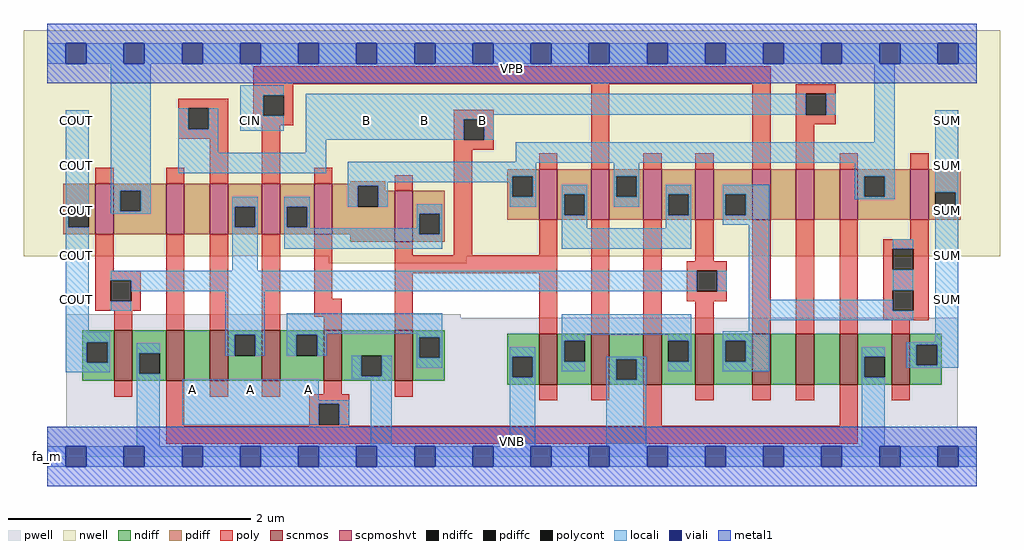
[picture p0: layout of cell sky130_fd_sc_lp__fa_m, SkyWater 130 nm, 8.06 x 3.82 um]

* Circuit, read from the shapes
.subckt sky130_fd_sc_lp__fa_m A B CIN VGND VNB VPB VPWR COUT SUM
XM1 VGND n1 COUT VNB sky130_fd_pr__nfet_01v8 w=0.42 l=0.15
XM2 n2 A VGND VNB sky130_fd_pr__nfet_01v8 w=0.42 l=0.15
XM3 n1 B n2 VNB sky130_fd_pr__nfet_01v8 w=0.42 l=0.15
XM4 n3 CIN n1 VNB sky130_fd_pr__nfet_01v8 w=0.42 l=0.15
XM5 VGND A n3 VNB sky130_fd_pr__nfet_01v8 w=0.42 l=0.15
XM6 n3 B VGND VNB sky130_fd_pr__nfet_01v8 w=0.42 l=0.15
XM7 n4 B VGND VNB sky130_fd_pr__nfet_01v8 w=0.42 l=0.15
XM8 VGND CIN n4 VNB sky130_fd_pr__nfet_01v8 w=0.42 l=0.15
XM9 n4 A VGND VNB sky130_fd_pr__nfet_01v8 w=0.42 l=0.15
XM10 n5 n1 n4 VNB sky130_fd_pr__nfet_01v8 w=0.42 l=0.15
XM11 n6 CIN n5 VNB sky130_fd_pr__nfet_01v8 w=0.42 l=0.15
XM12 n7 B n6 VNB sky130_fd_pr__nfet_01v8 w=0.42 l=0.15
XM13 VGND A n7 VNB sky130_fd_pr__nfet_01v8 w=0.42 l=0.15
XM14 SUM n5 VGND VNB sky130_fd_pr__nfet_01v8 w=0.42 l=0.15
XM15 VPWR n1 COUT VPB sky130_fd_pr__pfet_01v8_hvt w=0.42 l=0.15
XM16 n8 A VPWR VPB sky130_fd_pr__pfet_01v8_hvt w=0.42 l=0.15
XM17 n1 B n8 VPB sky130_fd_pr__pfet_01v8_hvt w=0.42 l=0.15
XM18 n9 CIN n1 VPB sky130_fd_pr__pfet_01v8_hvt w=0.42 l=0.15
XM19 VPWR A n9 VPB sky130_fd_pr__pfet_01v8_hvt w=0.42 l=0.15
XM20 n9 B VPWR VPB sky130_fd_pr__pfet_01v8_hvt w=0.42 l=0.15
XM21 n10 B VPWR VPB sky130_fd_pr__pfet_01v8_hvt w=0.42 l=0.15
XM22 VPWR CIN n10 VPB sky130_fd_pr__pfet_01v8_hvt w=0.42 l=0.15
XM23 n10 A VPWR VPB sky130_fd_pr__pfet_01v8_hvt w=0.42 l=0.15
XM24 n5 n1 n10 VPB sky130_fd_pr__pfet_01v8_hvt w=0.42 l=0.15
XM25 n11 CIN n5 VPB sky130_fd_pr__pfet_01v8_hvt w=0.42 l=0.15
XM26 n12 B n11 VPB sky130_fd_pr__pfet_01v8_hvt w=0.42 l=0.15
XM27 VPWR A n12 VPB sky130_fd_pr__pfet_01v8_hvt w=0.42 l=0.15
XM28 SUM n5 VPWR VPB sky130_fd_pr__pfet_01v8_hvt w=0.42 l=0.15
.ends

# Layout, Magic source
magic
tech sky130A
magscale 1 2
<< nwell >>
rect -38 331 1574 704
rect 465 319 693 331
<< pwell >>
rect 32 229 683 235
rect 32 49 1504 229
rect 0 0 1536 49
<< scnmos >>
rect 111 125 141 209
rect 197 125 227 209
rect 269 125 299 209
rect 355 125 385 209
rect 457 125 487 209
rect 574 125 604 209
rect 813 119 843 203
rect 899 119 929 203
rect 985 119 1015 203
rect 1071 119 1101 203
rect 1165 119 1195 203
rect 1237 119 1267 203
rect 1309 119 1339 203
rect 1395 119 1425 203
<< scpmoshvt >>
rect 80 367 110 451
rect 197 367 227 451
rect 269 367 299 451
rect 355 367 385 451
rect 441 367 471 451
rect 574 355 604 439
rect 813 391 843 475
rect 899 391 929 475
rect 985 391 1015 475
rect 1071 391 1101 475
rect 1165 391 1195 475
rect 1237 391 1267 475
rect 1309 391 1339 475
rect 1426 391 1456 475
<< ndiff >>
rect 58 189 111 209
rect 58 155 66 189
rect 100 155 111 189
rect 58 125 111 155
rect 141 171 197 209
rect 141 137 152 171
rect 186 137 197 171
rect 141 125 197 137
rect 227 125 269 209
rect 299 201 355 209
rect 299 167 310 201
rect 344 167 355 201
rect 299 125 355 167
rect 385 201 457 209
rect 385 167 412 201
rect 446 167 457 201
rect 385 125 457 167
rect 487 167 574 209
rect 487 133 519 167
rect 553 133 574 167
rect 487 125 574 133
rect 604 197 657 209
rect 604 163 615 197
rect 649 163 657 197
rect 604 125 657 163
rect 760 165 813 203
rect 760 131 768 165
rect 802 131 813 165
rect 760 119 813 131
rect 843 191 899 203
rect 843 157 854 191
rect 888 157 899 191
rect 843 119 899 157
rect 929 161 985 203
rect 929 127 940 161
rect 974 127 985 161
rect 929 119 985 127
rect 1015 191 1071 203
rect 1015 157 1026 191
rect 1060 157 1071 191
rect 1015 119 1071 157
rect 1101 191 1165 203
rect 1101 157 1120 191
rect 1154 157 1165 191
rect 1101 119 1165 157
rect 1195 119 1237 203
rect 1267 119 1309 203
rect 1339 165 1395 203
rect 1339 131 1350 165
rect 1384 131 1395 165
rect 1339 119 1395 131
rect 1425 185 1478 203
rect 1425 151 1436 185
rect 1470 151 1478 185
rect 1425 119 1478 151
<< pdiff >>
rect 501 451 559 455
rect 27 413 80 451
rect 27 379 35 413
rect 69 379 80 413
rect 27 367 80 379
rect 110 439 197 451
rect 110 405 121 439
rect 155 405 197 439
rect 110 367 197 405
rect 227 367 269 451
rect 299 413 355 451
rect 299 379 310 413
rect 344 379 355 413
rect 299 367 355 379
rect 385 413 441 451
rect 385 379 396 413
rect 430 379 441 413
rect 385 367 441 379
rect 471 447 559 451
rect 471 413 513 447
rect 547 439 559 447
rect 547 413 574 439
rect 471 367 574 413
rect 501 355 574 367
rect 604 401 657 439
rect 604 367 615 401
rect 649 367 657 401
rect 604 355 657 367
rect 760 463 813 475
rect 760 429 768 463
rect 802 429 813 463
rect 760 391 813 429
rect 843 433 899 475
rect 843 399 854 433
rect 888 399 899 433
rect 843 391 899 399
rect 929 463 985 475
rect 929 429 940 463
rect 974 429 985 463
rect 929 391 985 429
rect 1015 433 1071 475
rect 1015 399 1026 433
rect 1060 399 1071 433
rect 1015 391 1071 399
rect 1101 433 1165 475
rect 1101 399 1120 433
rect 1154 399 1165 433
rect 1101 391 1165 399
rect 1195 391 1237 475
rect 1267 391 1309 475
rect 1339 463 1426 475
rect 1339 429 1350 463
rect 1384 429 1426 463
rect 1339 391 1426 429
rect 1456 437 1509 475
rect 1456 403 1467 437
rect 1501 403 1509 437
rect 1456 391 1509 403
<< ndiffc >>
rect 66 155 100 189
rect 152 137 186 171
rect 310 167 344 201
rect 412 167 446 201
rect 519 133 553 167
rect 615 163 649 197
rect 768 131 802 165
rect 854 157 888 191
rect 940 127 974 161
rect 1026 157 1060 191
rect 1120 157 1154 191
rect 1350 131 1384 165
rect 1436 151 1470 185
<< pdiffc >>
rect 35 379 69 413
rect 121 405 155 439
rect 310 379 344 413
rect 396 379 430 413
rect 513 413 547 447
rect 615 367 649 401
rect 768 429 802 463
rect 854 399 888 433
rect 940 429 974 463
rect 1026 399 1060 433
rect 1120 399 1154 433
rect 1350 429 1384 463
rect 1467 403 1501 437
<< poly >>
rect 341 615 1195 645
rect 341 597 407 615
rect 217 575 299 591
rect 217 541 233 575
rect 267 541 299 575
rect 341 563 357 597
rect 391 563 407 597
rect 341 547 407 563
rect 672 557 738 573
rect 217 525 299 541
rect 80 451 110 477
rect 197 451 227 477
rect 269 451 299 525
rect 355 451 385 547
rect 672 523 688 557
rect 722 523 738 557
rect 672 507 738 523
rect 441 451 471 477
rect 574 439 604 465
rect 80 307 110 367
rect 80 291 155 307
rect 80 257 105 291
rect 139 257 155 291
rect 80 241 155 257
rect 111 209 141 241
rect 197 209 227 367
rect 269 209 299 367
rect 355 209 385 367
rect 441 261 471 367
rect 574 333 604 355
rect 672 333 702 507
rect 813 475 843 501
rect 899 475 929 615
rect 985 475 1015 501
rect 1071 475 1101 501
rect 1165 475 1195 615
rect 1237 599 1303 615
rect 1237 565 1253 599
rect 1287 565 1303 599
rect 1237 549 1303 565
rect 1237 475 1267 549
rect 1309 475 1339 501
rect 1426 475 1456 501
rect 813 333 843 391
rect 574 303 843 333
rect 441 231 487 261
rect 457 209 487 231
rect 574 209 604 303
rect 813 203 843 303
rect 899 203 929 391
rect 985 203 1015 391
rect 1071 323 1101 391
rect 1057 307 1123 323
rect 1057 273 1073 307
rect 1107 273 1123 307
rect 1057 257 1123 273
rect 1071 203 1101 257
rect 1165 203 1195 391
rect 1237 203 1267 391
rect 1309 203 1339 391
rect 1426 359 1456 391
rect 1381 343 1456 359
rect 1381 309 1397 343
rect 1431 309 1456 343
rect 1381 275 1456 309
rect 1381 241 1397 275
rect 1431 241 1456 275
rect 1381 225 1456 241
rect 1395 203 1425 225
rect 111 99 141 125
rect 197 51 227 125
rect 269 99 299 125
rect 355 99 385 125
rect 457 103 487 125
rect 433 87 499 103
rect 574 99 604 125
rect 813 93 843 119
rect 899 93 929 119
rect 433 53 449 87
rect 483 53 499 87
rect 433 51 499 53
rect 985 51 1015 119
rect 1071 93 1101 119
rect 1165 93 1195 119
rect 1237 93 1267 119
rect 1309 51 1339 119
rect 1395 93 1425 119
rect 197 21 1339 51
<< polycont >>
rect 233 541 267 575
rect 357 563 391 597
rect 688 523 722 557
rect 105 257 139 291
rect 1253 565 1287 599
rect 1073 273 1107 307
rect 1397 309 1431 343
rect 1397 241 1431 275
rect 449 53 483 87
<< locali >>
rect 0 649 31 683
rect 65 649 127 683
rect 161 649 223 683
rect 257 649 319 683
rect 353 649 415 683
rect 449 649 511 683
rect 545 649 607 683
rect 641 649 703 683
rect 737 649 799 683
rect 833 649 895 683
rect 929 649 991 683
rect 1025 649 1087 683
rect 1121 649 1183 683
rect 1217 649 1279 683
rect 1313 649 1375 683
rect 1409 649 1471 683
rect 1505 649 1536 683
rect 31 413 69 572
rect 31 379 35 413
rect 105 439 171 649
rect 319 597 391 613
rect 217 541 233 575
rect 267 541 283 575
rect 217 502 283 541
rect 319 563 357 597
rect 319 538 391 563
rect 427 565 1253 599
rect 1287 565 1303 599
rect 427 557 738 565
rect 427 523 688 557
rect 722 523 738 557
rect 427 502 461 523
rect 1366 519 1400 649
rect 217 468 461 502
rect 774 487 1400 519
rect 497 485 1400 487
rect 105 405 121 439
rect 155 405 171 439
rect 497 463 808 485
rect 497 453 768 463
rect 497 447 563 453
rect 105 401 171 405
rect 306 413 348 429
rect 31 205 69 379
rect 306 379 310 413
rect 344 379 348 413
rect 306 307 348 379
rect 392 413 434 429
rect 497 413 513 447
rect 547 413 563 447
rect 764 429 768 453
rect 802 429 808 463
rect 936 463 978 485
rect 392 379 396 413
rect 430 379 434 413
rect 392 377 434 379
rect 611 401 653 417
rect 764 413 808 429
rect 850 433 892 449
rect 611 377 615 401
rect 392 367 615 377
rect 649 367 653 401
rect 392 343 653 367
rect 850 399 854 433
rect 888 399 892 433
rect 936 429 940 463
rect 974 429 978 463
rect 1334 463 1400 485
rect 936 413 978 429
rect 1022 433 1064 449
rect 850 377 892 399
rect 1022 399 1026 433
rect 1060 399 1064 433
rect 1022 377 1064 399
rect 1116 433 1193 449
rect 1116 399 1120 433
rect 1154 399 1193 433
rect 1334 429 1350 463
rect 1384 429 1400 463
rect 1334 425 1400 429
rect 1467 437 1505 572
rect 1116 383 1193 399
rect 850 343 1064 377
rect 105 291 1073 307
rect 139 273 1073 291
rect 1107 273 1123 307
rect 105 241 139 257
rect 31 189 104 205
rect 31 155 66 189
rect 100 155 104 189
rect 294 201 360 273
rect 1159 259 1193 383
rect 1501 403 1505 437
rect 1397 343 1431 359
rect 1397 275 1431 309
rect 1159 241 1397 259
rect 31 139 104 155
rect 148 171 186 187
rect 148 137 152 171
rect 294 167 310 201
rect 344 167 360 201
rect 396 203 653 237
rect 396 201 462 203
rect 396 167 412 201
rect 446 167 462 201
rect 611 197 653 203
rect 148 17 186 137
rect 503 133 519 167
rect 553 133 569 167
rect 611 163 615 197
rect 649 163 653 197
rect 850 201 1064 235
rect 1159 225 1431 241
rect 1159 207 1193 225
rect 850 191 888 201
rect 611 147 653 163
rect 764 165 806 181
rect 503 129 569 133
rect 223 93 449 128
rect 223 87 499 93
rect 223 53 449 87
rect 483 53 499 87
rect 535 17 569 129
rect 764 131 768 165
rect 802 131 806 165
rect 850 157 854 191
rect 1026 191 1064 201
rect 850 141 888 157
rect 924 161 990 165
rect 764 17 806 131
rect 924 127 940 161
rect 974 127 990 161
rect 1060 157 1064 191
rect 1026 141 1064 157
rect 1116 191 1193 207
rect 1116 157 1120 191
rect 1154 157 1193 191
rect 1467 189 1505 403
rect 1420 185 1505 189
rect 1116 141 1193 157
rect 1346 165 1384 181
rect 924 17 990 127
rect 1346 131 1350 165
rect 1420 151 1436 185
rect 1470 151 1505 185
rect 1420 147 1505 151
rect 1346 17 1384 131
rect 0 -17 31 17
rect 65 -17 127 17
rect 161 -17 223 17
rect 257 -17 319 17
rect 353 -17 415 17
rect 449 -17 511 17
rect 545 -17 607 17
rect 641 -17 703 17
rect 737 -17 799 17
rect 833 -17 895 17
rect 929 -17 991 17
rect 1025 -17 1087 17
rect 1121 -17 1183 17
rect 1217 -17 1279 17
rect 1313 -17 1375 17
rect 1409 -17 1471 17
rect 1505 -17 1536 17
<< viali >>
rect 31 649 65 683
rect 127 649 161 683
rect 223 649 257 683
rect 319 649 353 683
rect 415 649 449 683
rect 511 649 545 683
rect 607 649 641 683
rect 703 649 737 683
rect 799 649 833 683
rect 895 649 929 683
rect 991 649 1025 683
rect 1087 649 1121 683
rect 1183 649 1217 683
rect 1279 649 1313 683
rect 1375 649 1409 683
rect 1471 649 1505 683
rect 31 -17 65 17
rect 127 -17 161 17
rect 223 -17 257 17
rect 319 -17 353 17
rect 415 -17 449 17
rect 511 -17 545 17
rect 607 -17 641 17
rect 703 -17 737 17
rect 799 -17 833 17
rect 895 -17 929 17
rect 991 -17 1025 17
rect 1087 -17 1121 17
rect 1183 -17 1217 17
rect 1279 -17 1313 17
rect 1375 -17 1409 17
rect 1471 -17 1505 17
<< metal1 >>
rect 0 683 1536 715
rect 0 649 31 683
rect 65 649 127 683
rect 161 649 223 683
rect 257 649 319 683
rect 353 649 415 683
rect 449 649 511 683
rect 545 649 607 683
rect 641 649 703 683
rect 737 649 799 683
rect 833 649 895 683
rect 929 649 991 683
rect 1025 649 1087 683
rect 1121 649 1183 683
rect 1217 649 1279 683
rect 1313 649 1375 683
rect 1409 649 1471 683
rect 1505 649 1536 683
rect 0 617 1536 649
rect 0 17 1536 49
rect 0 -17 31 17
rect 65 -17 127 17
rect 161 -17 223 17
rect 257 -17 319 17
rect 353 -17 415 17
rect 449 -17 511 17
rect 545 -17 607 17
rect 641 -17 703 17
rect 737 -17 799 17
rect 833 -17 895 17
rect 929 -17 991 17
rect 1025 -17 1087 17
rect 1121 -17 1183 17
rect 1217 -17 1279 17
rect 1313 -17 1375 17
rect 1409 -17 1471 17
rect 1505 -17 1536 17
rect 0 -49 1536 -17
<< labels >>
flabel pwell s 0 0 1536 49 0 FreeSans 200 0 0 0 VNB
port 5 nsew ground bidirectional
flabel nwell s 0 617 1536 666 0 FreeSans 200 0 0 0 VPB
port 6 nsew power bidirectional
rlabel comment s 0 0 0 0 4 fa_m
flabel metal1 s 0 617 1536 666 0 FreeSans 340 0 0 0 VPWR
port 7 nsew power bidirectional
flabel metal1 s 0 0 1536 49 0 FreeSans 340 0 0 0 VGND
port 4 nsew ground bidirectional
flabel locali s 511 538 545 572 0 FreeSans 340 0 0 0 B
port 2 nsew signal input
flabel locali s 607 538 641 572 0 FreeSans 340 0 0 0 B
port 2 nsew signal input
flabel locali s 703 538 737 572 0 FreeSans 340 0 0 0 B
port 2 nsew signal input
flabel locali s 31 242 65 276 0 FreeSans 340 0 0 0 COUT
port 8 nsew signal output
flabel locali s 31 316 65 350 0 FreeSans 340 0 0 0 COUT
port 8 nsew signal output
flabel locali s 31 390 65 424 0 FreeSans 340 0 0 0 COUT
port 8 nsew signal output
flabel locali s 31 464 65 498 0 FreeSans 340 0 0 0 COUT
port 8 nsew signal output
flabel locali s 31 538 65 572 0 FreeSans 340 0 0 0 COUT
port 8 nsew signal output
flabel locali s 1471 242 1505 276 0 FreeSans 340 0 0 0 SUM
port 9 nsew signal output
flabel locali s 1471 316 1505 350 0 FreeSans 340 0 0 0 SUM
port 9 nsew signal output
flabel locali s 1471 390 1505 424 0 FreeSans 340 0 0 0 SUM
port 9 nsew signal output
flabel locali s 1471 464 1505 498 0 FreeSans 340 0 0 0 SUM
port 9 nsew signal output
flabel locali s 1471 538 1505 572 0 FreeSans 340 0 0 0 SUM
port 9 nsew signal output
flabel locali s 223 94 257 128 0 FreeSans 340 0 0 0 A
port 1 nsew signal input
flabel locali s 319 94 353 128 0 FreeSans 340 0 0 0 A
port 1 nsew signal input
flabel locali s 415 94 449 128 0 FreeSans 340 0 0 0 A
port 1 nsew signal input
flabel locali s 319 538 353 572 0 FreeSans 340 0 0 0 CIN
port 3 nsew signal input
<< properties >>
string LEFsite unit
string LEFclass CORE
string FIXED_BBOX 0 0 1536 666
string GDS_FILE $PDKPATH/libs.ref/sky130_fd_sc_lp/gds/sky130_fd_sc_lp.gds
string LEFsymmetry X Y R90
string GDS_END 2420004
string GDS_START 2408662
<< end >>
